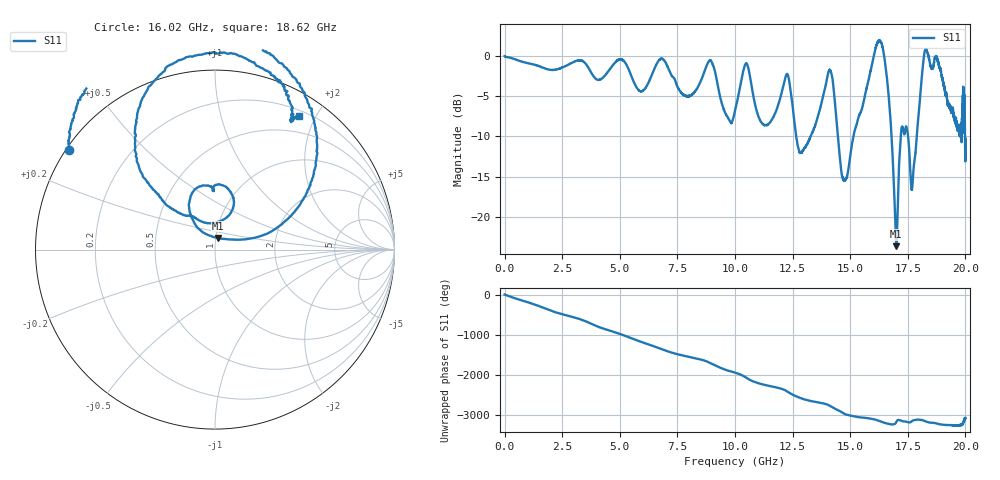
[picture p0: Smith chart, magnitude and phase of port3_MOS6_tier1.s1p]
! Created with skrf 1.8.0 (http://scikit-rf.org).
# GHz S RI R 50.0
!freq ReS11 ImS11
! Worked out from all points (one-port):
!   10001 points, 1 MHz to 20 GHz, reference 50 ohm
!   lowest |S11| = -23.6 dB at 17 GHz (marker M1), VSWR 1.14, Z = 51 + j6.61 ohm
!   |S11| at or under -10 dB: 12.66 GHz to 13.28 GHz (625 MHz wide, 4.82 % of centre); 14.47 GHz to 15.14 GHz (672.3 MHz wide, 4.54 % of centre); 16.8 GHz to 17.19 GHz (397.5 MHz wide, 2.34 % of centre) (the widest 3 of 10)
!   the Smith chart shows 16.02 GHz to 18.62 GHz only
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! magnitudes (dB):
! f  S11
! 1 MHz  0.0
! 2.501 GHz  -1.4
! 4.105 GHz  -3.0
! 5.001 GHz  -0.4
! 5.871 GHz  -4.4
! 6.799 GHz  -0.4
! 7.501 GHz  -3.8
! 8.121 GHz  -4.8
! 8.933 GHz  -0.6
! 9.605 GHz  -7.2
! 10 GHz  -6.8
! 10.48 GHz  -1.0
! 11.2 GHz  -8.4
! 12.24 GHz  -2.3
! 12.5 GHz  -6.2
! 12.91 GHz  -11.9
! 14.13 GHz  -1.8
! 14.67 GHz  -15.0
! 15 GHz  -12.4
! 16.31 GHz  1.8
! 16.65 GHz  -4.3
! 17 GHz  -23.6
! 17.22 GHz  -9.1
! 17.5 GHz  -9.7
! 17.72 GHz  -15.2
! 18.15 GHz  -1.4
! 18.3 GHz  0.8
! 20 GHz  -10.7
